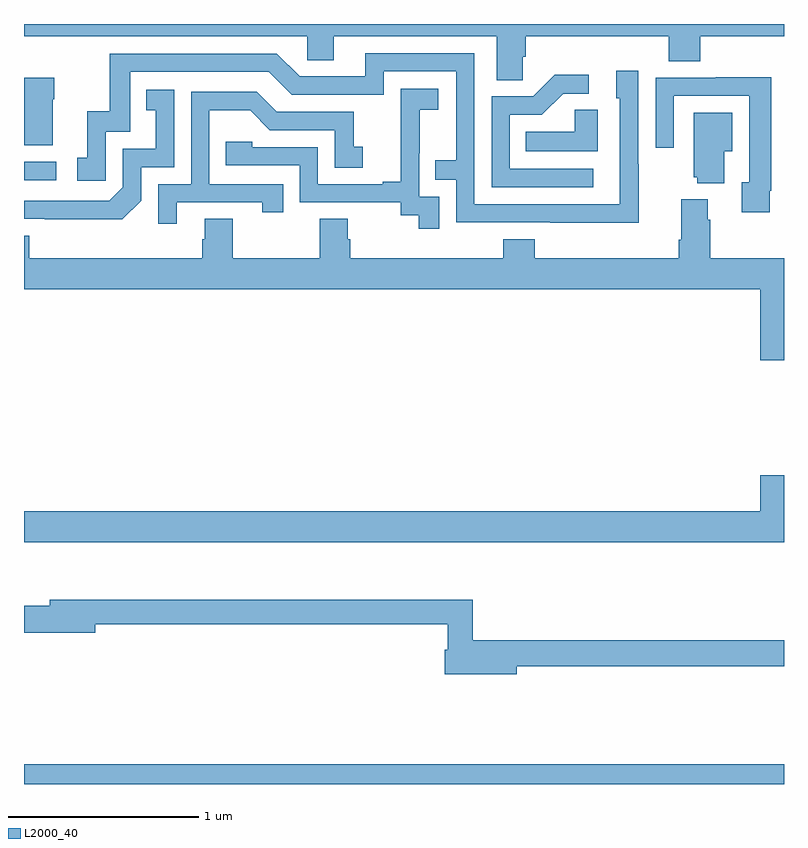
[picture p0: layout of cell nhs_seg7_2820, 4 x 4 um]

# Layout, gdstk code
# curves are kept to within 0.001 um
import gdstk
lib = gdstk.Library(unit=1e-6, precision=1e-09)
def R(c, l, rs):  # rectangles x0, y0, x1, y1
    for r in rs: c.add(gdstk.rectangle(r[:2], r[2:], *l))
def P(c, l, *ps):  # polygons
    for p in ps: c.add(gdstk.Polygon(p, *l))
L2000_40 = (2000, 40)

nhs_seg7_2820 = lib.new_cell('nhs_seg7_2820')
R(nhs_seg7_2820, L2000_40, [(293,1010,297,1010.104), (293,1013.178,293.17,1013.274)])
P(nhs_seg7_2820, L2000_40, [(295.626,1013.827),(295.64,1013.827),(295.64,1013.936),(296.393,1013.936),(296.393,1013.803),(296.558,1013.803),(296.558,1013.936),(297,1013.936),(297,1014),(293,1014),(293,1013.936),(294.492,1013.936),(294.492,1013.809),(294.631,1013.809),(294.631,1013.936),(295.487,1013.936),(295.487,1013.704),(295.626,1013.704)],
  [(296.235,1013.261),(296.232,1013.261),(296.232,1013.755),(296.117,1013.755),(296.117,1013.61),(296.136,1013.61),(296.136,1013.052),(295.371,1013.052),(295.371,1013.847),(294.797,1013.847),(294.797,1013.724),(294.45,1013.724),(294.33,1013.844),(293.451,1013.844),(293.451,1013.542),(293.333,1013.542),(293.333,1013.295),(293.28,1013.295),(293.28,1013.175),(293.43,1013.175),(293.43,1013.433),(293.559,1013.433),(293.559,1013.748),(294.288,1013.748),(294.408,1013.628),(294.894,1013.628),(294.894,1013.751),(295.275,1013.751),(295.275,1013.282),(295.165,1013.282),(295.165,1013.181),(295.275,1013.181),(295.275,1012.956),(296.235,1012.955)],
  [(295.996,1013.238),(295.557,1013.238),(295.557,1013.523),(295.726,1013.523),(295.837,1013.634),(295.972,1013.634),(295.972,1013.732),(295.793,1013.732),(295.68,1013.619),(295.461,1013.619),(295.461,1013.142),(295.996,1013.142)],
  [(296.926,1013.122),(296.933,1013.122),(296.933,1013.72),(296.641,1013.72),(296.641,1013.718),(296.325,1013.718),(296.325,1013.349),(296.421,1013.349),(296.421,1013.622),(296.817,1013.622),(296.817,1013.166),(296.777,1013.166),(296.777,1013.01),(296.926,1013.01)],
  [(293.152,1013.603),(293.16,1013.603),(293.16,1013.716),(293,1013.716),(293,1013.363),(293.152,1013.363)],
  [(295.185,1013.091),(295.08,1013.091),(295.08,1013.321),(295.082,1013.321),(295.082,1013.549),(295.18,1013.549),(295.18,1013.659),(294.982,1013.659),(294.982,1013.453),(294.983,1013.453),(294.983,1013.17),(294.887,1013.17),(294.887,1013.157),(294.546,1013.157),(294.546,1013.352),(294.201,1013.352),(294.201,1013.379),(294.061,1013.379),(294.061,1013.256),(294.45,1013.256),(294.45,1013.061),(294.984,1013.061),(294.984,1012.993),(295.077,1012.993),(295.077,1012.923),(295.185,1012.923)],
  [(293.616,1013.07),(293.616,1013.247),(293.79,1013.247),(293.79,1013.653),(293.644,1013.653),(293.644,1013.547),(293.693,1013.547),(293.693,1013.343),(293.52,1013.343),(293.52,1013.142),(293.448,1013.07),(293,1013.07),(293,1012.974),(293.518,1012.973)],
  [(293.803,1013.061),(294.254,1013.061),(294.254,1013.01),(294.365,1013.01),(294.365,1013.157),(293.976,1013.157),(293.976,1013.546),(294.19,1013.546),(294.294,1013.442),(294.636,1013.442),(294.636,1013.244),(294.784,1013.244),(294.784,1013.353),(294.735,1013.353),(294.735,1013.538),(294.331,1013.538),(294.226,1013.643),(293.88,1013.643),(293.88,1013.157),(293.706,1013.157),(293.706,1012.95),(293.803,1012.95)],
  [(296.02,1013.549),(295.899,1013.549),(295.899,1013.434),(295.642,1013.434),(295.642,1013.33),(296.02,1013.33)],
  [(296.686,1013.33),(296.728,1013.33),(296.728,1013.533),(296.525,1013.533),(296.525,1013.193),(296.543,1013.193),(296.543,1013.162),(296.686,1013.162)],
  [(297,1012.768),(296.612,1012.768),(296.612,1012.97),(296.599,1012.97),(296.599,1013.077),(296.459,1013.077),(296.459,1012.864),(296.447,1012.864),(296.447,1012.768),(295.688,1012.768),(295.688,1012.867),(295.523,1012.867),(295.523,1012.768),(294.716,1012.768),(294.716,1012.866),(294.703,1012.866),(294.703,1012.976),(294.556,1012.976),(294.556,1012.768),(294.099,1012.768),(294.099,1012.976),(293.951,1012.976),(293.951,1012.866),(293.939,1012.866),(293.939,1012.768),(293.027,1012.768),(293.027,1012.885),(293,1012.885),(293,1012.604),(296.876,1012.604),(296.876,1012.23),(297,1012.23)],
  [(297,1011.625),(296.876,1011.625),(296.876,1011.436),(293,1011.436),(293,1011.272),(297,1011.272)],
  [(295.594,1010.62),(297,1010.62),(297,1010.756),(295.361,1010.756),(295.361,1010.971),(293.135,1010.971),(293.135,1010.937),(293,1010.937),(293,1010.795),(293.374,1010.795),(293.374,1010.842),(295.229,1010.842),(295.229,1010.707),(295.214,1010.707),(295.214,1010.578),(295.594,1010.578)])

lib.write_gds('nhs_seg7_2820.gds')
